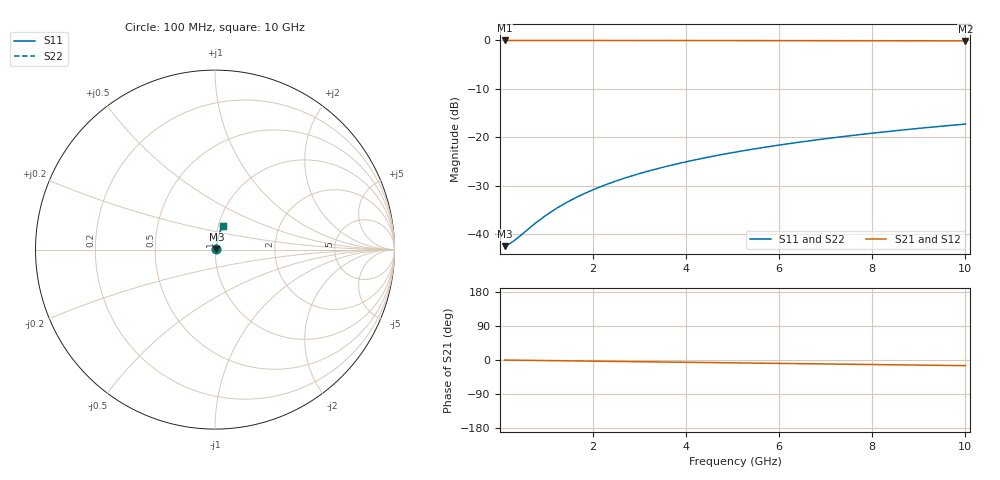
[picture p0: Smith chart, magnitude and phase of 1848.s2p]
# Hz S RI R 50.00
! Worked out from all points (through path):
!   100 points, 100 MHz to 10 GHz, reference 50 ohm
!   highest |S21| = -0.06 dB at 100 MHz (marker M1); lowest = -0.2 dB at 10 GHz (marker M2)
!   group delay of S21, straight-line fit = 4.14 ps
!   lowest |S11| = -42.4 dB at 100 MHz (marker M3), VSWR 1.02, Z = 50.7 + j0.139 ohm
!   |S11| at or under -10 dB: start of sweep to end of sweep
!   |S22| runs from -42.4 to -17.3 dB; largest |S21 - S12| = 0
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1e8  0.00744 0.00137  0.9926 -0.00259  0.9926 -0.00259  0.00744 0.00137
2e8  0.0075 0.00274  0.9925 -0.00519  0.9925 -0.00519  0.0075 0.00274
3e8  0.00755 0.0041  0.9924 -0.00778  0.9924 -0.00778  0.00755 0.0041
8e8  0.00786 0.0109  0.9921 -0.0207  0.9921 -0.0207  0.00786 0.0109
9e8  0.00794 0.0123  0.992 -0.0233  0.992 -0.0233  0.00794 0.0123
1.1e9  0.00811 0.015  0.9918 -0.0285  0.9918 -0.0285  0.00811 0.015
1.4e9  0.00842 0.0191  0.9914 -0.0363  0.9914 -0.0363  0.00842 0.0191
1.6e9  0.00865 0.0218  0.9911 -0.0415  0.9911 -0.0415  0.00865 0.0218
1.8e9  0.00892 0.0246  0.9908 -0.0466  0.9908 -0.0466  0.00892 0.0246
2.1e9  0.00936 0.0286  0.9903 -0.0544  0.9903 -0.0544  0.00936 0.0286
2.5e9  0.0101 0.0341  0.9894 -0.0647  0.9894 -0.0647  0.0101 0.0341
2.9e9  0.0109 0.0395  0.9885 -0.0751  0.9885 -0.0751  0.0109 0.0395
3.4e9  0.012 0.0462  0.9871 -0.0879  0.9871 -0.0879  0.012 0.0462
3.8e9  0.0131 0.0516  0.9858 -0.0982  0.9858 -0.0982  0.0131 0.0516
4.2e9  0.0142 0.0569  0.9844 -0.1084  0.9844 -0.1084  0.0142 0.0569
4.6e9  0.0155 0.0622  0.9829 -0.1187  0.9829 -0.1187  0.0155 0.0622
5.1e9  0.0172 0.0688  0.9807 -0.1314  0.9807 -0.1314  0.0172 0.0688
5.9e9  0.0204 0.0792  0.9769 -0.1516  0.9769 -0.1516  0.0204 0.0792
6.7e9  0.0239 0.0895  0.9726 -0.1718  0.9726 -0.1718  0.0239 0.0895
7.5e9  0.0279 0.0996  0.9677 -0.1917  0.9677 -0.1917  0.0279 0.0996
8.4e9  0.0329 0.1107  0.9617 -0.2139  0.9617 -0.2139  0.0329 0.1107
1e10  0.0429 0.1298  0.9493 -0.2528  0.9493 -0.2528  0.0429 0.1298
